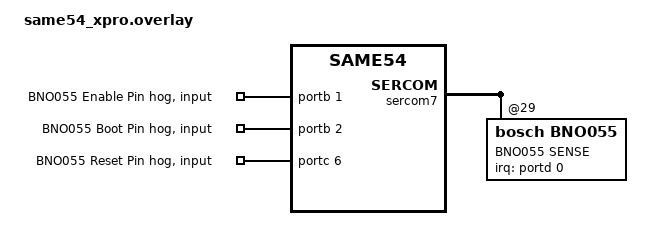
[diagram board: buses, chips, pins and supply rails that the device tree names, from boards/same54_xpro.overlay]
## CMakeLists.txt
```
# SPDX-License-Identifier: Apache-2.0

cmake_minimum_required(VERSION 3.20.0)
find_package(Zephyr REQUIRED HINTS $ENV{ZEPHYR_BASE})

project(sensorMachineApp)

target_sources(app PRIVATE src/main.c src/app_pwm_state.c src/app_sensor_state.c src/app_button.c)
target_include_directories(app PRIVATE ${CMAKE_CURRENT_SOURCE_DIR}/include)
```

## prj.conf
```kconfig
CONFIG_SMF=y
CONFIG_GPIO=y
CONFIG_I2C=y
CONFIG_PWM=y
CONFIG_SENSOR=y
CONFIG_BNO055=y
CONFIG_BNO055_TRIGGER=y
CONFIG_EVENTS=y
# CONFIG_SHELL=y
# CONFIG_I2C_SHELL=y
# CONFIG_SENSOR_SHELL=y
# CONFIG_LOG=y
# CONFIG_I2C_SAM0=y
# CONFIG_STDOUT_CONSOLE=y
```

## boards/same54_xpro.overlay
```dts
/ {
    aliases {
        userled = &pwm_led0;
        userbutton = &button0;
	};
};

&gmac{
	status="disabled";
};

&portb {
    gpio-controller;
    #gpio-cells = <2>;
    status = "okay";
    
    // Enable Pin Configuration
    enable_pin: enable {
        gpios = <1 GPIO_ACTIVE_HIGH>;
        gpio-hog;                     // Mark the pin as hogged
        line-name = "BNO055 Enable Pin";  // Label for the enable pin
    };

    boot_pin: boot {
        gpios = <2 GPIO_ACTIVE_HIGH>;
        gpio-hog;                     // Mark the pin as hogged
        line-name = "BNO055 Boot Pin";    // Label for the boot pin
    };
};

&portc {
    gpio-controller;
    #gpio-cells = <2>;
    status = "okay";

    //Reset Pin Configuration
    reset_pin: reset {
        gpios = <6 GPIO_ACTIVE_HIGH>; // Pin 28 for reset
        gpio-hog;                     // Mark the pin as hogged
        line-name = "BNO055 Reset Pin";   // Label for the reset pin
    };
};

&sercom7 {
    //add your sensor binding here
	bno055: bno055@29 {
		status = "okay";
	 	compatible = "bosch,bno055";
        reg = <0x29>;
	    irq-gpios = <&portd 0 (GPIO_ACTIVE_HIGH | GPIO_PULL_DOWN)>;
	 	use_xtal;
		label = "BNO055 SENSE";
	};
};
```

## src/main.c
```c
#include <zephyr/kernel.h>
#include <zephyr/device.h>
#include <zephyr/drivers/i2c.h>
#include <zephyr/devicetree.h>
#include <zephyr/logging/log.h>
#include <zephyr/drivers/sensor.h>
#include <zephyr/drivers/gpio.h>
#include <zephyr/drivers/pwm.h>
#include <zephyr/smf.h>

// sensor library header file
#include <bno055.h>

//application header file
#include <app_pwm_state.h>
#include <app_button.h>
#include <app_sensor_state.h>



/* User defined object */
struct FSMContext stateMachineInfo;



// TODO #1: Event Based State Machine with funciton pointer mapping with respective states. 
const struct smf_state stateTable[NUM_STATES] = 
{
    [PWM_INITIAL] = SMF_CREATE_STATE(initPWM_GPIO_ENTRY, initPWM_RUN, initPWM_EXIT, NULL, NULL),
    [CALIBRATION] = SMF_CREATE_STATE(calibratePWM_ENTRY, NULL, calibration_EXIT, NULL, NULL),
    [FIRST_STATE] = SMF_CREATE_STATE(NULL, ledPWM_RUN, NULL, NULL, NULL),
    [SECOND_STATE] = SMF_CREATE_STATE(NULL, checkPeriod_RUN, NULL, NULL, NULL),
    [SENSOR_INIT] = SMF_CREATE_STATE(initI2CNode_ENTRY, NULL, NULL, NULL, NULL),
    [SENSOR_SAMPLE] = SMF_CREATE_STATE(NULL, dataFetch_RUN, NULL, NULL, NULL),
    [SENSOR_CONSOLE] = SMF_CREATE_STATE(NULL, dataFormat_RUN, NULL, NULL, NULL),
    [ERROR_STATE] = SMF_CREATE_STATE(NULL, errorHandle_RUN, NULL, NULL, NULL)
    
};


// TODO #10: Main function to initialize the SMF, Events, and start the state machine with a specific state.
int main(void)
{
        int ret;
        /* Set initial state for FSM*/
        smf_set_initial(SMF_CTX(&stateMachineInfo), &stateTable[PWM_INITIAL]);
        /* Initialize the event */
        k_event_init(&stateMachineInfo.smf_event);
            while(true)
            {   
                /* unBlocking until an event is detected */
                stateMachineInfo.events = k_event_wait(&stateMachineInfo.smf_event, EVENT_BTN_PRESS, false, K_NO_WAIT);
                // start SMF for PWMMachine
                ret = smf_run_state(SMF_CTX(&stateMachineInfo));
                if(ret < 0)
                {
                    return -1;
                }
            }
        return 0;
}
```

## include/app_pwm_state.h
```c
#ifndef APP_PWM_STATE_H
#define APP_PWM_STATE_H


// Assuming for 7-bit 
#define MIN_PERIOD PWM_SEC(1U) / 128U
#define MAX_PERIOD PWM_SEC(1U)


#define TIMEOUT_FOUR_SEC K_SECONDS(4U)
#define TIMEOUT_TWO_SEC K_SECONDS(2U)

#define PERIOD_DOUBLE 2U
#define PERIOD_HALF_DIVISOR 2U

typedef enum  {
    PWM_INITIAL,     // LED OFF
    CALIBRATION,
    FIRST_STATE,       // Blink
    SECOND_STATE,      // periond
    SENSOR_INIT,       // BNO055 init
    SENSOR_SAMPLE,     // fetch the sample from the external sensor. 
    SENSOR_CONSOLE,    // formatted based for serial console
    ERROR_STATE,     // Error state
    NUM_STATES      // for array sizing (Just optional)
}APP_State;

/* User defined object */
struct FSMContext 
{   /* This must be first */
    struct smf_ctx ctx;
    /* Events for toggling */
    struct k_event smf_event;
    uint32_t events;
};
/* Object used in multiple files*/
extern struct pwm_dt_spec pwmBlink;
extern struct FSMContext stateMachineInfo;
extern const struct smf_state stateTable[NUM_STATES];

// Init sate function prototype
void initPWM_GPIO_ENTRY(void* ptrData);
void initPWM_RUN(void* ptrData);
void initPWM_EXIT(void* ptrData);

// Caliberation state function prototype
void calibratePWM_ENTRY(void* ptrData);
void calibration_EXIT(void* ptrData);

// S1 funciton prototype
void ledPWM_RUN(void* ptrData);
// void firstState_EXIT(void* ptrData);

// //S2 function prototype
// void secondState_ENTRY(void* ptrData);
void checkPeriod_RUN(void* ptrData);


// state with only error handling and resume
void errorHandle_RUN(void* ptrData);


#endif // APP_PWM_STATES_H
```

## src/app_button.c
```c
// Zephyr library header files
#include <zephyr/kernel.h>
#include <zephyr/sys/printk.h>
#include <zephyr/device.h>
#include <zephyr/drivers/pwm.h>
#include <zephyr/drivers/gpio.h>
#include <zephyr/smf.h>

// Application header with Enums, Structure and function prototype
#include <app_pwm_state.h>
#include <app_button.h>
#include <app_sensor_state.h>


// TODO #6: get devicetree node
const struct gpio_dt_spec button = GPIO_DT_SPEC_GET_OR(SW0_NODE, gpios, {0});
// callback structures
struct gpio_callback buttonCallback;
// to track the last button press
static uint32_t lastTime = 0U;

// TODO #8: interrupt service routine for GPIO
void buttonPressed_handler(const struct device *dev, struct gpio_callback *cb, uint32_t pins)
{
        /* Generate Button Press Event */
        uint32_t currentTime = k_uptime_get_32();
        if(currentTime - lastTime > DEBOUNCE_DELAY_MS)
        {
                printk("Captured the Button event\r\n");
                k_event_post(&stateMachineInfo.smf_event, EVENT_BTN_PRESS);
                lastTime = currentTime; 
        }else{
                printk("Debounced button press ignored\r\n");
        }
}

// TODO #9: switch between two machine on interrupt event
void FSM_select(struct FSMContext* infoData)
{
        if(infoData->ctx.current == &stateTable[FIRST_STATE] || infoData->ctx.current == &stateTable[SECOND_STATE])
        {
                pwm_set_dt(&pwmBlink, 0, 0);
                smf_set_state(SMF_CTX(infoData), &stateTable[SENSOR_INIT]);
        }else{
                pwm_set_dt(&pwmBlink, 0, 0);
                smf_set_state(SMF_CTX(infoData), &stateTable[FIRST_STATE]);
        }
        infoData->events &= ~EVENT_BTN_PRESS;  // Clear event *after* handling
        k_event_clear(&infoData->smf_event, EVENT_BTN_PRESS);
}



// TODO #7: GPIO with interrupt configuration
int init_SW0(void)
{
    int ret;
        if (!gpio_is_ready_dt(&button)) 
        {
                printk("Error: button device %s is not ready\n", button.port->name);
                //smf_set_state(SMF_CTX(&stateMachineInfo), &stateTable[ERROR_SERR]);
                return -1;
        }

        ret = gpio_pin_configure_dt(&button, GPIO_INPUT);
        if (ret != 0) 
        {
                printk("Error %d: failed to configure %s pin %d\n", ret, button.port->name, button.pin);
                //smf_set_state(SMF_CTX(&stateMachineInfo), &stateTable[ERROR_SERR]);
                return -1;
        }

        ret = gpio_pin_interrupt_configure_dt(&button, GPIO_INT_EDGE_TO_ACTIVE);
        if (ret != 0) 
        {
                printk("Error %d: failed to configure interrupt on %s pin %d\n", ret, button.port->name, button.pin);
                //smf_set_state(SMF_CTX(&stateMachineInfo), &stateTable[ERROR_SERR]);
                return -1;
        }

        gpio_init_callback(&buttonCallback, buttonPressed_handler, BIT(button.pin));
        gpio_add_callback(button.port, &buttonCallback);
        return 0;
}
```

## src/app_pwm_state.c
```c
// zephyr library header files
#include <zephyr/kernel.h>
#include <zephyr/sys/printk.h>
#include <zephyr/device.h>
#include <zephyr/sys/util.h>
#include <zephyr/drivers/pwm.h>
#include <zephyr/drivers/gpio.h>
#include <zephyr/smf.h>

// application header with Enums, Structure and function prototype
#include <app_pwm_state.h>
#include <app_button.h>
#include <app_sensor_state.h>

// TODO #1: get the devicetree node
struct pwm_dt_spec pwmBlink  = PWM_DT_SPEC_GET(DT_ALIAS(userled));


// Global variables
static uint32_t max_period;
static uint32_t period;
uint8_t direction = 0U;


/*
 * FSM 4 State Transition:
 *
 *	    ---> Init_ENTRY --> Init_RUN --> Init_EXIT -----------------------------|
 *                                                                              |
 *      |-----------------------------------------------------------------------|
 *      |
 *      |--> stateOne_ENTRY --> stateOne_RUN --> stateOne_exit -----------------|
 *                                                                              |
 *      |-----------------------------------------------------------------------|
 *      |
 *      |--> stateSecond_ENTRY --> stateSecond_RUN --> stateSecond_exit --------|
 *                                                                              |
 *      |-----------------------------------------------------------------------|
 *      |
 *      |--> errorHandle --> FIRST_S1    ---------------------------------------|
 *      |                                                                       |
 *                       --> INITIAL_S0  ---------------------------------------|
 */    


// TODO #: Checking if the PWM is ready or not 
void initPWM_GPIO_ENTRY(void* ptrData) 
{
        printk("Enter to Init (LED OFF)\r\n");
        
        if(!pwm_is_ready_dt(&pwmBlink))
        {
            printk("Error occure while PWM init\r\n");
            // Transition to error state
            smf_set_state(SMF_CTX(&stateMachineInfo), &stateTable[ERROR_STATE]);
        }
        if(0 != init_SW0())
        {
            printk("Error occure while GPIO init\r\n");
            // Transition to error state
            smf_set_state(SMF_CTX(&stateMachineInfo), &stateTable[ERROR_STATE]);
        }
        k_sleep(TIMEOUT_FOUR_SEC); 
}


//TODO #: Set the parameter to zero
void initPWM_RUN(void* ptrData)
{

        pwm_set_dt(&pwmBlink, 0, 0);  //(0 duty cycle)
        printk("Completed and PWM is ready\r\n");
        smf_set_state(SMF_CTX(&stateMachineInfo), &stateTable[CALIBRATION]); // Transition to caliberation mode
        k_sleep(TIMEOUT_FOUR_SEC); 

}

//TODO #: Exit from init PWM state
void initPWM_EXIT(void* ptrData)
{
        printk("Completed the Init PWM LED\r\n");
}

// TODO #: Calibrating for Maximumm period based on MCU clock
void calibratePWM_ENTRY(void* ptrData)
{
        printk("In CALIBRATION state\n");
        // Calibrate maximum period
        max_period = MAX_PERIOD;
        printk("Calibrated for max period %u nsec\r\n", max_period);
        k_sleep(TIMEOUT_FOUR_SEC); 
        while (pwm_set_dt(&pwmBlink, max_period, max_period / PERIOD_HALF_DIVISOR)) 
        {
            max_period /= PERIOD_HALF_DIVISOR;
            if (max_period < (5U * MIN_PERIOD)) 
            {
                printk("Error: PWM device doesn't support the period at least %lu\n", 4U * MIN_PERIOD);
                // Transition to error State
                smf_set_state(SMF_CTX(&stateMachineInfo), &stateTable[ERROR_STATE]);
                break;  
            }
        }
        
        period = max_period;
        k_sleep(TIMEOUT_FOUR_SEC); 
        smf_set_state(SMF_CTX(&stateMachineInfo), &stateTable[FIRST_STATE]); 

}

// Exiting from calibration state
void calibration_EXIT(void* ptrData)
{
        printk("Completed the caliberation for MAX period\r\n");
}


// Todo # Set Period and pulse for PWM using PWM interface API
// Note: need to add the button pressed event and state transition
void ledPWM_RUN(void* ptrData)
{
    int ret = 0;
        struct FSMContext* info = (struct FSMContext*)ptrData;
        if (info->events & EVENT_BTN_PRESS)
        {
            FSM_select(info);
        }else{
            printk("Period %u nsec\n", period);
            ret = pwm_set_dt(&pwmBlink, period, period / PERIOD_HALF_DIVISOR);
            if(ret)
            {
                printk("Error %d: failed to set pulse width in state S1\n", ret);
                smf_set_state(SMF_CTX(info), &stateTable[ERROR_STATE]); // Transition to S0 in case of error
            }

        k_sleep(TIMEOUT_FOUR_SEC); // Stay in S1 for 4 seconds before transitioning
        smf_set_state(SMF_CTX(info), &stateTable[SECOND_STATE]); // Transition to S2 (fast blink)
        }
    
}

// S2: Fast Blink with PWM LED
//Note: need to work on event flag for button interrupt and change state trnasistion from here two situation
void checkPeriod_RUN(void* ptrData) 
{
    struct FSMContext* info = (struct FSMContext*)ptrData;
        if (info->events & EVENT_BTN_PRESS)
        {
            FSM_select(info);
        }else{
            period = direction ? (period * PERIOD_DOUBLE) : (period / PERIOD_HALF_DIVISOR);
            printk("S2 %s\r\n", direction ? "Increment period" : "Decrement Period");
            if (period > max_period) {
                period = max_period / PERIOD_HALF_DIVISOR;
                direction = 0U;
            }else if (period < MIN_PERIOD){
                period = MIN_PERIOD * PERIOD_DOUBLE;
                direction = 1U;
            }
        
        k_sleep(TIMEOUT_FOUR_SEC); // Stay in S2 for 4 seconds before transitioning
        smf_set_state(SMF_CTX(info), &stateTable[FIRST_STATE]); // Transition back to S1 (slow blink)
        }
    
}


// Error State has only error actions
void errorHandle_RUN(void* ptrData)
{
    const struct FSMContext* info = (const struct FSMContext*)ptrData;
        if(info->ctx.previous == &stateTable[FIRST_STATE] || info->ctx.previous == &stateTable[SECOND_STATE])
        {
                smf_set_state(SMF_CTX(&info), &stateTable[CALIBRATION]);
        }else{
                // need to work on resetting the PMW module and its parameter
                smf_set_state(SMF_CTX(&info), &stateTable[PWM_INITIAL]);
        }

}
```

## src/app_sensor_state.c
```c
#include <zephyr/kernel.h>
#include <zephyr/device.h>
#include <zephyr/drivers/i2c.h>
#include <zephyr/devicetree.h>
#include <zephyr/drivers/sensor.h>
#include <zephyr/drivers/gpio.h>
#include <zephyr/smf.h>
// sensor library header file
#include <bno055.h>

// Application header with Enums, Structure and function prototype
#include <app_pwm_state.h>
#include <app_button.h>
#include <app_sensor_state.h>


// TODO #2: get the devicetree node and allocate memory for data
const struct device* bno055_node = DEVICE_DT_GET(DT_NODELABEL(bno055));

static struct sensor_value accelerometerData[3];

// TODO #3: Check if the I2C slave device is ready or not
void initI2CNode_ENTRY(void* ptrData)
{

    if (!device_is_ready(bno055_node)) {
		printk("Device %s is not ready\r\n", bno055_node->name);
		smf_set_state(SMF_CTX(&stateMachineInfo), &stateTable[ERROR_STATE]);
	}
	struct sensor_value config = {
		.val1 = BNO055_MODE_ACC_MAG_GYRO,
		.val2 = 0,
	};
	sensor_attr_set(bno055_node, SENSOR_CHAN_ALL, SENSOR_ATTR_CONFIGURATION, &config);
	config.val1 = BNO055_POWER_NORMAL;
	config.val2 = 0;
	sensor_attr_set(bno055_node, SENSOR_CHAN_ALL, BNO055_SENSOR_ATTR_POWER_MODE, &config);
	smf_set_state(SMF_CTX(&stateMachineInfo), &stateTable[SENSOR_SAMPLE]);
	
}

// TODO #4: fetch the data from sensor, filter based on the channel of the sensor, and transition to SENSOR_CONSOLE
void dataFetch_RUN(void* ptrData)
{

	int ret;
	struct FSMContext* info = (struct FSMContext*)ptrData;
    if (info->events & EVENT_BTN_PRESS)
    {
        FSM_select(info);
	}else{
		ret = sensor_sample_fetch(bno055_node);
		if(ret < 0){
			smf_set_state(SMF_CTX(&stateMachineInfo), &stateTable[ERROR_STATE]);
		}
		
		// linear acceleration and gravity
		sensor_channel_get(bno055_node, SENSOR_CHAN_ACCEL_XYZ, accelerometerData);
		smf_set_state(SMF_CTX(&stateMachineInfo), &stateTable[SENSOR_CONSOLE]); 
	}
	 
}

// TODO #5: format the buffered data to present on serial terminal and transition to SENSOR_SAMPLE state
void dataFormat_RUN(void* ptrData)
{

	struct FSMContext* info = (struct FSMContext*)ptrData;
    if (info->events & EVENT_BTN_PRESS)
    {
        FSM_select(info);
	}else{

	printk("ACCEL (m.s-2) --> X: [%d.%06d] Y: [%d.%06d] Z: [%d.%06d]\n", accelerometerData[0].val1, accelerometerData[0].val2, accelerometerData[1].val1, accelerometerData[1].val2, accelerometerData[2].val1, accelerometerData[2].val2);
	k_sleep(K_MSEC(500));
	smf_set_state(SMF_CTX(&stateMachineInfo), &stateTable[SENSOR_SAMPLE]); 
	}
	 
}
```
